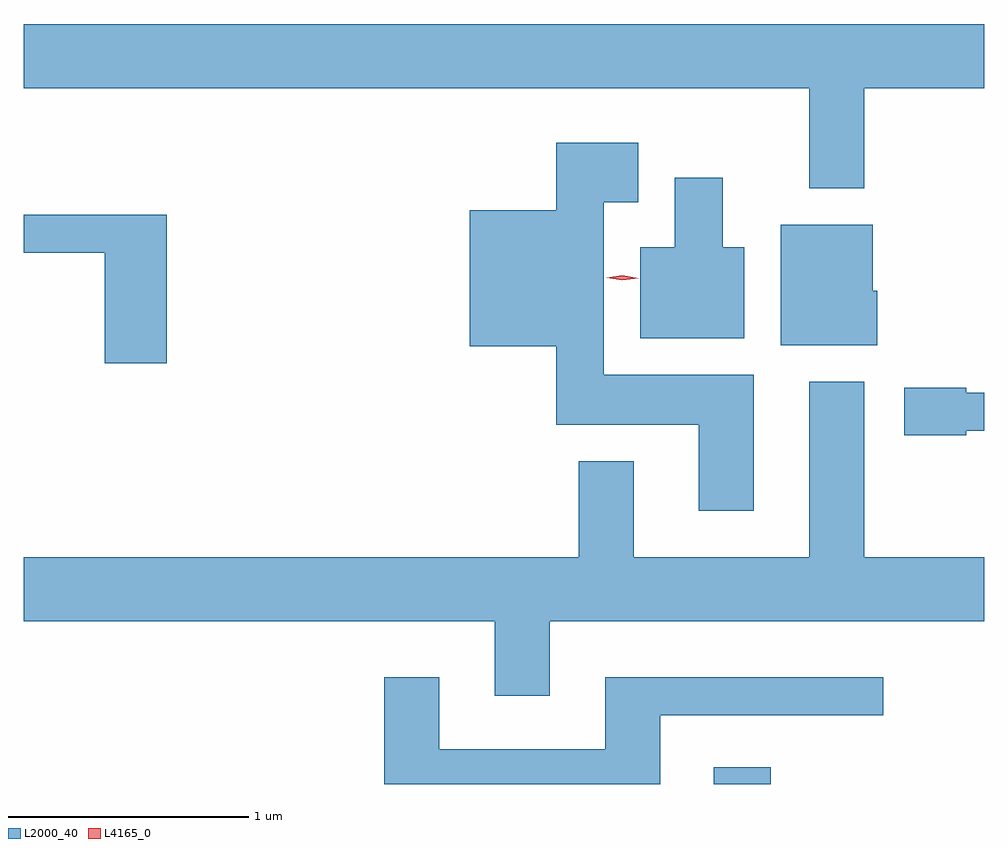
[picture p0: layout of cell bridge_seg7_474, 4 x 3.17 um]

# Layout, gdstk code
import gdstk
lib = gdstk.Library(unit=1e-6, precision=1e-09)
def R(c, l, rs):  # rectangles x0, y0, x1, y1
    for r in rs: c.add(gdstk.rectangle(r[:2], r[2:], *l))
def P(c, l, *ps):  # polygons
    for p in ps: c.add(gdstk.Polygon(p, *l))
L2000_40 = (2000, 40)
L4165_0 = (4165, 0)

bridge_seg7_474 = lib.new_cell('bridge_seg7_474')
R(bridge_seg7_474, L2000_40, [(1258.613,1695.879,1258.849,1695.949)])
P(bridge_seg7_474, L2000_40, [(1259.239,1698.776),(1259.739,1698.776),(1259.739,1699.044),(1255.739,1699.044),(1255.739,1698.776),(1259.011,1698.776),(1259.011,1698.361),(1259.239,1698.361)],
  [(1258.779,1697.584),(1258.154,1697.584),(1258.154,1698.301),(1258.299,1698.301),(1258.299,1698.549),(1257.956,1698.549),(1257.956,1698.269),(1257.596,1698.269),(1257.596,1697.701),(1257.956,1697.701),(1257.956,1697.376),(1258.551,1697.376),(1258.551,1697.016),(1258.779,1697.016)],
  [(1258.739,1698.114),(1258.649,1698.114),(1258.649,1698.404),(1258.451,1698.404),(1258.451,1698.114),(1258.306,1698.114),(1258.306,1697.736),(1258.739,1697.736)],
  [(1256.334,1698.249),(1255.739,1698.249),(1255.739,1698.091),(1256.076,1698.091),(1256.076,1697.631),(1256.334,1697.631)],
  [(1259.294,1697.934),(1259.274,1697.934),(1259.274,1698.209),(1258.891,1698.209),(1258.891,1697.706),(1259.294,1697.706)],
  [(1257.929,1696.556),(1259.739,1696.556),(1259.739,1696.824),(1259.239,1696.824),(1259.239,1697.554),(1259.011,1697.554),(1259.011,1696.824),(1258.279,1696.824),(1258.279,1697.224),(1258.051,1697.224),(1258.051,1696.824),(1255.739,1696.824),(1255.739,1696.556),(1257.701,1696.556),(1257.701,1696.246),(1257.929,1696.246)],
  [(1259.664,1697.351),(1259.739,1697.351),(1259.739,1697.509),(1259.664,1697.509),(1259.664,1697.529),(1259.406,1697.529),(1259.406,1697.331),(1259.664,1697.331)],
  [(1258.389,1696.166),(1259.318,1696.166),(1259.318,1696.324),(1258.161,1696.324),(1258.161,1696.024),(1257.469,1696.024),(1257.469,1696.324),(1257.241,1696.324),(1257.241,1695.879),(1258.389,1695.879)])
P(bridge_seg7_474, L4165_0, [(1258.232,1697.977),(1258.166,1697.987),(1258.166,1697.988),(1258.166,1697.988),(1258.232,1697.997),(1258.298,1697.986),(1258.298,1697.986),(1258.298,1697.985)])

lib.write_gds('bridge_seg7_474.gds')
